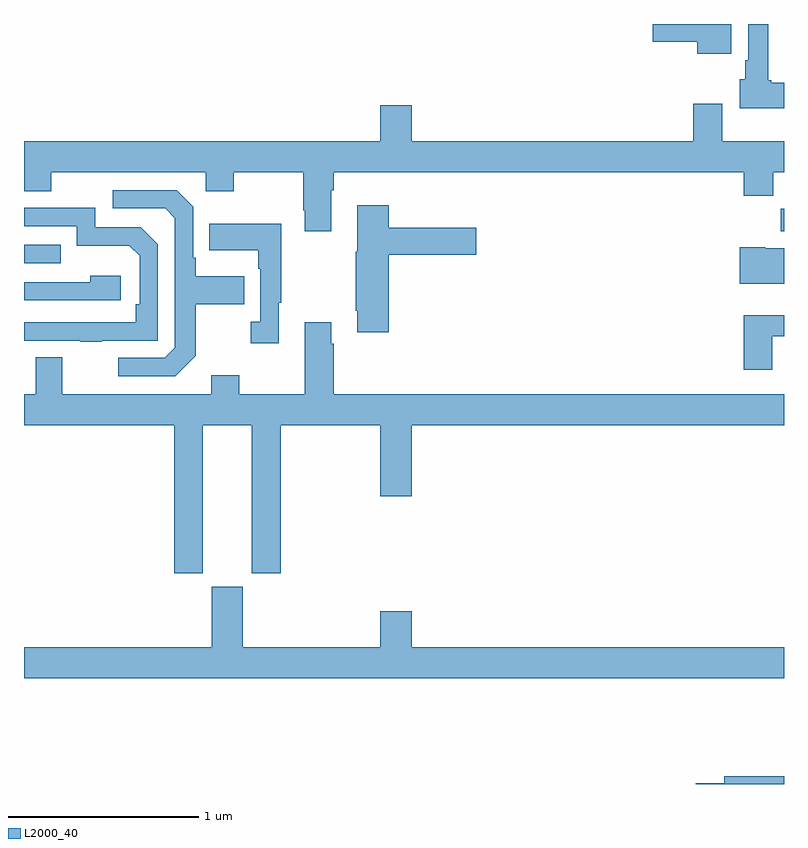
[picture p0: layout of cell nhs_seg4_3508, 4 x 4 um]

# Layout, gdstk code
import gdstk
lib = gdstk.Library(unit=1e-6, precision=1e-09)
def R(c, l, rs):  # rectangles x0, y0, x1, y1
    for r in rs: c.add(gdstk.rectangle(r[:2], r[2:], *l))
def P(c, l, *ps):  # polygons
    for p in ps: c.add(gdstk.Polygon(p, *l))
L2000_40 = (2000, 40)

nhs_seg4_3508 = lib.new_cell('nhs_seg4_3508')
R(nhs_seg4_3508, L2000_40, [(295,829.641,295.193,829.737), (298.984,829.808,299,829.927)])
P(nhs_seg4_3508, L2000_40, [(298.723,830.9),(298.31,830.9),(298.31,830.807),(298.544,830.807),(298.544,830.744),(298.723,830.744)],
  [(299,830.59),(298.932,830.59),(298.932,830.604),(298.918,830.604),(298.918,830.9),(298.811,830.9),(298.811,830.71),(298.796,830.71),(298.796,830.61),(298.766,830.61),(298.766,830.456),(299,830.456)],
  [(296.617,830.024),(296.63,830.024),(296.63,830.12),(298.787,830.12),(298.787,829.996),(298.943,829.996),(298.943,830.12),(299,830.12),(299,830.284),(298.675,830.284),(298.675,830.479),(298.523,830.479),(298.523,830.284),(297.04,830.284),(297.04,830.473),(296.876,830.473),(296.876,830.284),(295,830.284),(295,830.021),(295.143,830.021),(295.143,830.12),(295.956,830.12),(295.956,830.021),(296.103,830.021),(296.103,830.12),(296.47,830.12),(296.47,829.921),(296.477,829.921),(296.477,829.809),(296.617,829.809)],
  [(295.903,829.153),(295.903,829.426),(296.159,829.426),(296.159,829.573),(295.903,829.573),(295.903,829.669),(295.89,829.669),(295.89,829.938),(295.803,830.025),(295.467,830.025),(295.467,829.929),(295.743,829.929),(295.794,829.878),(295.794,829.197),(295.74,829.143),(295.497,829.143),(295.497,829.047),(295.797,829.047)],
  [(296.921,829.685),(297.379,829.685),(297.379,829.827),(296.921,829.827),(296.921,829.945),(296.753,829.945),(296.753,829.701),(296.746,829.701),(296.746,829.39),(296.753,829.39),(296.753,829.278),(296.921,829.278)],
  [(295.409,829.233),(295.704,829.233),(295.704,829.74),(295.614,829.83),(295.374,829.83),(295.374,829.932),(295,829.932),(295,829.836),(295.278,829.836),(295.278,829.733),(295.555,829.733),(295.608,829.68),(295.608,829.426),(295.588,829.426),(295.588,829.329),(295,829.329),(295,829.233),(295.297,829.233),(295.297,829.228),(295.409,829.228)],
  [(296.341,829.433),(296.353,829.433),(296.353,829.849),(295.975,829.849),(295.975,829.709),(296.232,829.709),(296.232,829.613),(296.244,829.613),(296.244,829.334),(296.193,829.334),(296.193,829.221),(296.341,829.221)],
  [(299,829.72),(298.902,829.72),(298.902,829.726),(298.766,829.726),(298.766,829.532),(299,829.532)],
  [(295.51,829.576),(295.349,829.576),(295.349,829.542),(295,829.542),(295,829.446),(295.51,829.446)],
  [(298.939,829.257),(299,829.257),(299,829.366),(298.787,829.366),(298.787,829.08),(298.939,829.08)],
  [(295.942,828.788),(296.198,828.788),(296.198,828.009),(296.351,828.009),(296.351,828.788),(296.876,828.788),(296.876,828.414),(297.04,828.414),(297.04,828.788),(299,828.788),(299,828.952),(296.63,828.952),(296.63,829.217),(296.617,829.217),(296.617,829.33),(296.477,829.33),(296.477,828.952),(296.133,828.952),(296.133,829.051),(295.985,829.051),(295.985,828.952),(295.201,828.952),(295.201,829.147),(295.061,829.147),(295.061,828.952),(295,828.952),(295,828.788),(295.79,828.788),(295.79,828.009),(295.942,828.009)],
  [(299,827.62),(297.04,827.62),(297.04,827.809),(296.876,827.809),(296.876,827.62),(296.152,827.62),(296.152,827.937),(295.988,827.937),(295.988,827.62),(295,827.62),(295,827.456),(299,827.456)],
  [(299,826.94),(298.685,826.94),(298.685,826.904),(298.536,826.904),(298.536,826.9),(299,826.9)])

lib.write_gds('nhs_seg4_3508.gds')
